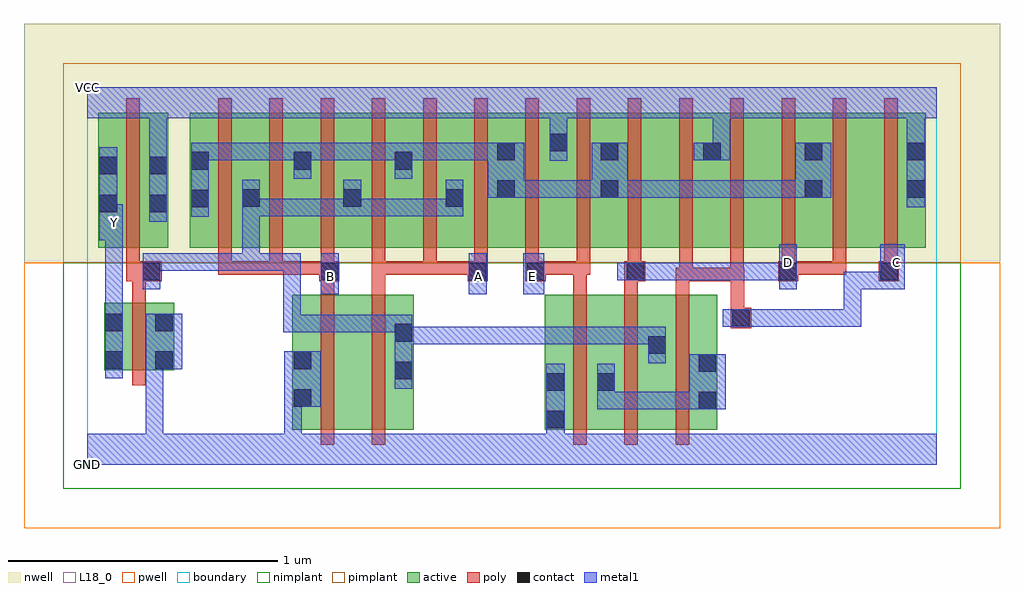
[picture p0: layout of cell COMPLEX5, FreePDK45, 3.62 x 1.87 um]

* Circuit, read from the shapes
.subckt COMPLEX5 A B C D E GND VCC Y
M1 GND n1 Y VSUBS nfet w=0.25u l=0.05u
M2 n2 B GND VSUBS nfet w=0.5u l=0.05u
M3 n1 A n2 VSUBS nfet w=0.5u l=0.05u
M4 n3 E GND VSUBS nfet w=0.5u l=0.05u
M5 n1 D n3 VSUBS nfet w=0.5u l=0.05u
M6 n3 C n1 VSUBS nfet w=0.5u l=0.05u
M7 VCC n1 Y n4 pfet w=0.5u l=0.05u
M8 n1 B n5 n4 pfet w=0.5u l=0.05u m=3
M9 n5 A n1 n4 pfet w=0.5u l=0.05u m=3
M10 VCC E n5 n4 pfet w=0.5u l=0.05u m=2
M11 n6 D n5 n4 pfet w=0.5u l=0.05u
M12 VCC C n6 n4 pfet w=0.5u l=0.05u
M13 n7 C VCC n4 pfet w=0.5u l=0.05u
M14 n5 D n7 n4 pfet w=0.5u l=0.05u
M15 n8 D n5 n4 pfet w=0.5u l=0.05u
M16 VCC C n8 n4 pfet w=0.5u l=0.05u
.ends

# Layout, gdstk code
import gdstk
lib = gdstk.Library(unit=1e-6, precision=1e-09)
def R(c, l, rs):  # rectangles x0, y0, x1, y1
    for r in rs: c.add(gdstk.rectangle(r[:2], r[2:], *l))
def A(c, l, x, y, w, h, nx, ny, dx, dy):  # array of equal rectangles
    R(c, l, [(x+i*dx, y+j*dy, x+i*dx+w, y+j*dy+h) for i in range(nx) for j in range(ny)])
active = (1, 0)
pwell = (2, 0)
nwell = (3, 0)
nimplant = (4, 0)
pimplant = (5, 0)
poly = (9, 0)
contact = (10, 0)
metal1 = (11, 0)
L18_0 = (18, 0)
boundary = (235, 0)

complex5 = lib.new_cell('COMPLEX5')
A(complex5, active, 0.945, 0.805, 0.265, 0.5, 3, 1, 0.19, 0)
R(complex5, active, [(0.76,0.13,0.985,0.63), (0.76,0.13,0.835,0.592), (0.985,0.13,1.21,0.63), (1.697,0.13,1.962,0.63), (1.697,0.13,1.772,0.63), (1.887,0.13,2.15,0.63), (2.075,0.13,2.337,0.63), (1.135,0.195,1.21,0.63), (1.887,0.195,1.962,0.592), (2.075,0.195,2.15,0.592), (2.262,0.195,2.337,0.63), (0.062,0.35,0.137,0.6), (0.062,0.35,0.322,0.6), (0.247,0.35,0.322,0.6), (0.04,0.805,0.115,1.2), (0.04,0.805,0.3,1.305), (0.225,0.805,0.3,1.305), (0.38,0.805,0.645,1.305), (0.38,0.805,0.455,1.2), (0.57,0.805,0.835,1.305), (0.57,0.805,0.645,1.07), (0.76,0.805,1.02,1.305), (0.945,0.805,1.02,1.07), (1.515,0.805,1.59,1.2), (1.515,0.805,1.785,1.305), (1.71,0.805,1.975,1.305), (1.71,0.805,1.785,1.305), (1.9,0.805,2.125,1.305), (1.9,0.805,1.975,1.2), (2.125,0.805,2.355,1.305), (2.28,0.805,2.355,1.305), (2.28,0.805,2.505,1.305), (2.505,0.805,2.73,1.305), (2.655,0.805,2.885,1.305), (2.885,0.805,3.11,1.305), (3.035,0.805,3.11,1.305), (0.76,0.807,0.835,1.2), (1.135,0.807,1.21,1.2), (1.325,0.807,1.4,1.07), (2.655,0.807,2.73,1.2)])
R(complex5, pwell, [(-0.235,-0.235,3.385,0.75)])
R(complex5, nwell, [(-0.235,0.75,3.385,1.635)])
R(complex5, nimplant, [(-0.09,-0.09,3.24,0.75)])
R(complex5, pimplant, [(-0.09,0.75,3.24,1.49)])
A(complex5, poly, 1.802, 0.075, 0.05, 0.61, 3, 1, 0.19, 0)
A(complex5, poly, 0.485, 0.705, 0.05, 0.095, 9, 1, 0.19, 0)
A(complex5, poly, 2.575, 0.705, 0.05, 0.095, 3, 1, 0.19, 0)
A(complex5, poly, 0.485, 0.75, 0.05, 0.61, 14, 1, 0.19, 0)
R(complex5, poly, [(0.865,0.075,0.915,0.685), (1.055,0.075,1.105,0.685), (0.167,0.295,0.217,0.655), (2.387,0.507,2.462,0.582), (2.387,0.532,2.437,0.73), (0.167,0.605,0.217,0.73), (0.865,0.635,0.915,0.73), (1.055,0.635,1.105,0.755), (1.802,0.635,1.852,0.755), (1.992,0.635,2.042,0.73), (2.182,0.635,2.232,0.73), (0.145,0.68,0.275,0.755), (0.86,0.68,0.935,0.755), (1.41,0.68,1.485,0.755), (1.625,0.68,1.7,0.755), (1.992,0.68,2.07,0.755), (2.182,0.68,2.245,0.73), (2.195,0.68,2.245,0.8), (2.195,0.68,2.435,0.73), (2.385,0.68,2.435,0.73), (2.385,0.68,2.435,0.73), (2.385,0.68,2.435,0.73), (2.385,0.68,2.435,0.73), (2.385,0.68,2.435,0.8), (2.385,0.68,2.437,0.73), (2.562,0.68,2.637,0.755), (2.935,0.68,3.01,0.755), (0.145,0.705,0.195,0.8), (0.485,0.705,0.535,0.755), (0.485,0.705,0.725,0.755), (0.675,0.705,0.725,0.755), (0.675,0.705,0.725,0.755), (0.675,0.705,0.725,0.755), (0.675,0.705,0.91,0.755), (0.86,0.705,0.91,0.755), (0.86,0.705,0.91,0.755), (1.055,0.705,1.105,0.755), (1.055,0.705,1.295,0.755), (1.245,0.705,1.295,0.755), (1.245,0.705,1.295,0.755), (1.245,0.705,1.295,0.755), (1.245,0.705,1.46,0.755), (1.41,0.705,1.46,0.755), (1.41,0.705,1.46,0.755), (1.65,0.705,1.852,0.755), (1.802,0.705,1.852,0.755), (1.802,0.705,1.852,0.755), (1.802,0.705,1.865,0.755), (2.587,0.705,2.815,0.755), (2.765,0.705,2.815,0.755), (2.765,0.705,2.815,0.755), (2.765,0.705,2.815,0.755), (0.145,0.75,0.195,1.36)])
R(complex5, contact, [(1.702,0.135,1.767,0.2), (2.267,0.205,2.332,0.27), (0.765,0.215,0.83,0.28), (1.702,0.275,1.767,0.34), (1.892,0.275,1.957,0.34), (1.14,0.317,1.205,0.382), (2.267,0.345,2.332,0.41), (0.067,0.355,0.132,0.42), (0.252,0.355,0.317,0.42), (0.765,0.355,0.83,0.42), (2.08,0.412,2.145,0.477), (1.14,0.457,1.205,0.522), (0.067,0.495,0.132,0.56), (0.252,0.495,0.317,0.56), (2.392,0.512,2.457,0.577), (0.205,0.685,0.27,0.75), (0.865,0.685,0.93,0.75), (1.415,0.685,1.48,0.75), (1.63,0.685,1.695,0.75), (2,0.685,2.065,0.75), (2.567,0.685,2.632,0.75), (2.94,0.685,3.005,0.75), (0.045,0.937,0.11,1.002), (0.23,0.937,0.295,1.002), (0.385,0.955,0.45,1.02), (0.575,0.957,0.64,1.022), (0.95,0.957,1.015,1.022), (1.33,0.957,1.395,1.022), (1.52,0.99,1.585,1.055), (1.905,0.99,1.97,1.055), (2.66,0.99,2.725,1.055), (3.04,0.99,3.105,1.055), (0.045,1.077,0.11,1.142), (0.23,1.077,0.295,1.142), (0.385,1.095,0.45,1.16), (0.765,1.095,0.83,1.16), (1.14,1.095,1.205,1.16), (1.52,1.13,1.585,1.195), (1.905,1.13,1.97,1.195), (2.285,1.13,2.35,1.195), (2.66,1.13,2.725,1.195), (3.04,1.13,3.105,1.195), (1.715,1.162,1.78,1.227)])
R(complex5, metal1, [(0,0,3.15,0.115), (0.217,0.05,0.282,0.115), (0.217,0.05,0.282,0.115), (0.217,0.05,0.282,0.42), (0.73,0.05,0.795,0.115), (0.73,0.05,0.795,0.115), (0.73,0.05,0.795,0.28), (1.705,0.05,1.77,0.115), (1.705,0.05,1.77,0.115), (1.705,0.05,1.77,0.165), (1.702,0.1,1.77,0.375), (1.892,0.205,2.142,0.27), (1.892,0.205,1.957,0.375), (2.077,0.205,2.142,0.27), (2.077,0.205,2.142,0.27), (2.077,0.205,2.142,0.27), (2.077,0.205,2.282,0.27), (2.217,0.205,2.282,0.27), (2.217,0.205,2.297,0.27), (2.232,0.205,2.367,0.41), (0.73,0.215,0.865,0.42), (1.14,0.282,1.205,0.557), (0.067,0.32,0.132,0.595), (0.217,0.355,0.282,0.42), (0.217,0.355,0.282,0.42), (0.217,0.355,0.282,0.42), (0.217,0.355,0.282,0.42), (0.217,0.355,0.352,0.56), (2.08,0.377,2.145,0.512), (1.14,0.447,1.342,0.512), (1.277,0.447,1.342,0.512), (1.277,0.447,1.395,0.512), (1.33,0.447,1.395,0.512), (1.33,0.447,1.532,0.512), (1.467,0.447,1.532,0.512), (1.467,0.447,1.532,0.512), (1.467,0.447,1.532,0.512), (1.467,0.447,1.755,0.512), (1.69,0.447,1.755,0.512), (1.69,0.447,1.755,0.512), (1.69,0.447,1.755,0.512), (1.69,0.447,1.892,0.512), (1.827,0.447,1.892,0.512), (1.827,0.447,1.935,0.512), (1.87,0.447,1.935,0.512), (1.87,0.447,2.145,0.512), (2.08,0.447,2.145,0.512), (2.08,0.447,2.145,0.512), (0.727,0.492,0.792,0.557), (0.727,0.492,1.067,0.557), (0.727,0.492,0.792,0.785), (1.002,0.492,1.067,0.557), (1.002,0.492,1.067,0.557), (1.002,0.492,1.067,0.557), (1.002,0.492,1.205,0.557), (1.14,0.492,1.205,0.557), (1.14,0.492,1.205,0.557), (2.357,0.512,2.492,0.577), (2.427,0.512,2.492,0.577), (2.427,0.512,2.492,0.577), (2.427,0.512,2.492,0.577), (2.427,0.512,2.492,0.577), (2.427,0.512,2.73,0.577), (2.665,0.512,2.73,0.577), (2.665,0.512,2.73,0.577), (2.665,0.512,2.73,0.577), (2.665,0.512,2.867,0.577), (2.802,0.512,2.867,0.577), (2.802,0.512,2.867,0.577), (2.802,0.512,2.87,0.577), (2.805,0.512,2.87,0.715), (0.067,0.53,0.132,0.897), (0.865,0.632,0.932,0.785), (1.415,0.632,1.482,0.785), (1.617,0.632,1.695,0.785), (0.205,0.65,0.27,0.785), (2.567,0.65,2.632,0.817), (2.805,0.65,3.005,0.715), (2.805,0.65,2.87,0.715), (2.94,0.65,3.032,0.817), (1.965,0.685,2.1,0.75), (2.035,0.685,2.142,0.75), (2.077,0.685,2.142,0.75), (2.077,0.685,2.282,0.75), (2.217,0.685,2.282,0.75), (2.217,0.685,2.282,0.75), (2.217,0.685,2.282,0.75), (2.217,0.685,2.495,0.75), (2.43,0.685,2.495,0.75), (2.43,0.685,2.495,0.75), (2.43,0.685,2.495,0.75), (2.43,0.685,2.632,0.75), (0.205,0.72,0.27,0.785), (0.205,0.72,0.27,0.785), (0.205,0.72,0.502,0.785), (0.437,0.72,0.502,0.785), (0.437,0.72,0.502,0.785), (0.437,0.72,0.502,0.785), (0.437,0.72,0.64,0.785), (0.575,0.72,0.64,0.785), (0.575,0.72,0.792,0.785), (0.575,0.72,0.64,0.987), (0.727,0.72,0.792,0.785), (0.727,0.72,0.792,0.785), (0.727,0.72,0.792,0.785), (0.045,0.832,0.132,0.967), (0.045,0.902,0.11,1.177), (0.045,0.902,0.11,0.967), (0.23,0.902,0.295,1.177), (0.385,0.92,0.45,1.195), (0.575,0.922,0.64,1.057), (0.575,0.922,0.792,0.987), (0.727,0.922,0.792,0.987), (0.727,0.922,0.792,0.987), (0.727,0.922,0.792,0.987), (0.727,0.922,1.015,0.987), (0.95,0.922,1.015,0.987), (0.95,0.922,1.015,0.987), (0.95,0.922,1.015,1.057), (0.95,0.922,1.205,0.987), (1.14,0.922,1.205,0.987), (1.14,0.922,1.257,0.987), (1.192,0.922,1.257,0.987), (1.192,0.922,1.342,0.987), (1.277,0.922,1.342,0.987), (1.277,0.922,1.395,0.987), (1.33,0.922,1.395,1.057), (3.04,0.955,3.105,1.23), (1.485,0.99,1.62,1.195), (1.547,0.99,1.612,1.055), (1.547,0.99,1.612,1.055), (1.547,0.99,1.755,1.055), (1.69,0.99,1.755,1.055), (1.69,0.99,1.757,1.055), (1.692,0.99,1.892,1.055), (1.692,0.99,1.757,1.055), (1.827,0.99,1.892,1.055), (1.827,0.99,1.935,1.055), (1.87,0.99,2.005,1.195), (1.94,0.99,2.142,1.055), (2.077,0.99,2.142,1.055), (2.077,0.99,2.142,1.055), (2.077,0.99,2.142,1.055), (2.077,0.99,2.285,1.055), (2.22,0.99,2.285,1.055), (2.22,0.99,2.285,1.055), (2.22,0.99,2.285,1.055), (2.22,0.99,2.495,1.055), (2.43,0.99,2.495,1.055), (2.43,0.99,2.495,1.055), (2.43,0.99,2.495,1.055), (2.43,0.99,2.69,1.055), (2.625,0.99,2.69,1.055), (2.625,0.99,2.69,1.055), (2.625,0.99,2.76,1.195), (0.765,1.06,0.83,1.195), (1.14,1.06,1.205,1.195), (0.23,1.112,0.295,1.35), (1.715,1.127,1.78,1.262), (0.385,1.13,0.655,1.195), (0.59,1.13,0.655,1.195), (0.59,1.13,0.655,1.195), (0.59,1.13,0.655,1.195), (0.59,1.13,0.792,1.195), (0.727,1.13,0.792,1.195), (0.727,1.13,0.83,1.195), (0.765,1.13,1.067,1.195), (1.002,1.13,1.067,1.195), (1.002,1.13,1.067,1.195), (1.002,1.13,1.067,1.195), (1.002,1.13,1.205,1.195), (1.14,1.13,1.205,1.195), (1.14,1.13,1.205,1.195), (1.14,1.13,1.342,1.195), (1.277,1.13,1.342,1.195), (1.277,1.13,1.395,1.195), (1.33,1.13,1.395,1.195), (1.33,1.13,1.545,1.195), (1.48,1.13,1.545,1.195), (1.48,1.13,1.55,1.195), (2.25,1.13,2.385,1.195), (2.32,1.13,2.385,1.35), (3.04,1.165,3.105,1.35), (1.715,1.197,1.78,1.35), (0,1.285,3.15,1.4)])
R(complex5, L18_0, [(0,0,3.15,0.115), (0.217,0.05,0.282,0.115), (0.217,0.05,0.282,0.115), (0.217,0.05,0.282,0.42), (0.73,0.05,0.795,0.115), (0.73,0.05,0.795,0.115), (0.73,0.05,0.795,0.28), (1.705,0.05,1.77,0.115), (1.705,0.05,1.77,0.115), (1.705,0.05,1.77,0.165), (1.702,0.1,1.77,0.375), (0.73,0.215,0.865,0.42), (0.067,0.32,0.132,0.595), (0.217,0.355,0.282,0.42), (0.217,0.355,0.282,0.42), (0.217,0.355,0.282,0.42), (0.217,0.355,0.282,0.42), (0.217,0.355,0.352,0.56), (2.357,0.512,2.492,0.577), (2.427,0.512,2.492,0.577), (2.427,0.512,2.492,0.577), (2.427,0.512,2.492,0.577), (2.427,0.512,2.492,0.577), (2.427,0.512,2.73,0.577), (2.665,0.512,2.73,0.577), (2.665,0.512,2.73,0.577), (2.665,0.512,2.73,0.577), (2.665,0.512,2.867,0.577), (2.802,0.512,2.867,0.577), (2.802,0.512,2.867,0.577), (2.802,0.512,2.87,0.577), (2.805,0.512,2.87,0.715), (0.067,0.53,0.132,0.897), (0.865,0.632,0.932,0.785), (1.415,0.632,1.482,0.785), (1.617,0.632,1.695,0.785), (2.567,0.65,2.632,0.817), (2.805,0.65,2.87,0.715), (2.805,0.65,3.005,0.715), (2.94,0.65,3.032,0.817), (0.867,0.667,0.932,0.732), (1.417,0.667,1.482,0.732), (1.617,0.667,1.682,0.732), (1.965,0.685,2.1,0.75), (2.035,0.685,2.142,0.75), (2.077,0.685,2.142,0.75), (2.077,0.685,2.282,0.75), (2.217,0.685,2.282,0.75), (2.217,0.685,2.282,0.75), (2.217,0.685,2.282,0.75), (2.217,0.685,2.495,0.75), (2.43,0.685,2.495,0.75), (2.43,0.685,2.495,0.75), (2.43,0.685,2.495,0.75), (2.43,0.685,2.632,0.75), (2.567,0.717,2.632,0.782), (2.967,0.717,3.032,0.782), (0.045,0.832,0.132,0.967), (0.067,0.867,0.132,0.932), (0.045,0.902,0.11,1.177), (0.045,0.902,0.11,0.967), (0.23,0.902,0.295,1.177), (3.04,0.955,3.105,1.23), (0.23,1.112,0.295,1.35), (1.715,1.127,1.78,1.262), (2.25,1.13,2.385,1.195), (2.32,1.13,2.385,1.35), (3.04,1.165,3.105,1.35), (1.715,1.197,1.78,1.35), (0,1.285,3.15,1.4)])
R(complex5, boundary, [(0,0,3.15,1.4)])
complex5.add(gdstk.Label('A', (1.45,0.7), layer=11, texttype=0))
complex5.add(gdstk.Label('B', (0.9,0.7), layer=11, texttype=0))
complex5.add(gdstk.Label('C', (3,0.75), layer=11, texttype=0))
complex5.add(gdstk.Label('D', (2.6,0.75), layer=11, texttype=0))
complex5.add(gdstk.Label('E', (1.65,0.7), layer=11, texttype=0))
complex5.add(gdstk.Label('Y', (0.1,0.9), layer=11, texttype=0))
complex5.add(gdstk.Label('VCC', (0,1.4), layer=11, texttype=0))
complex5.add(gdstk.Label('GND', (0,0), layer=11, texttype=0))

lib.write_gds('COMPLEX5.gds')
